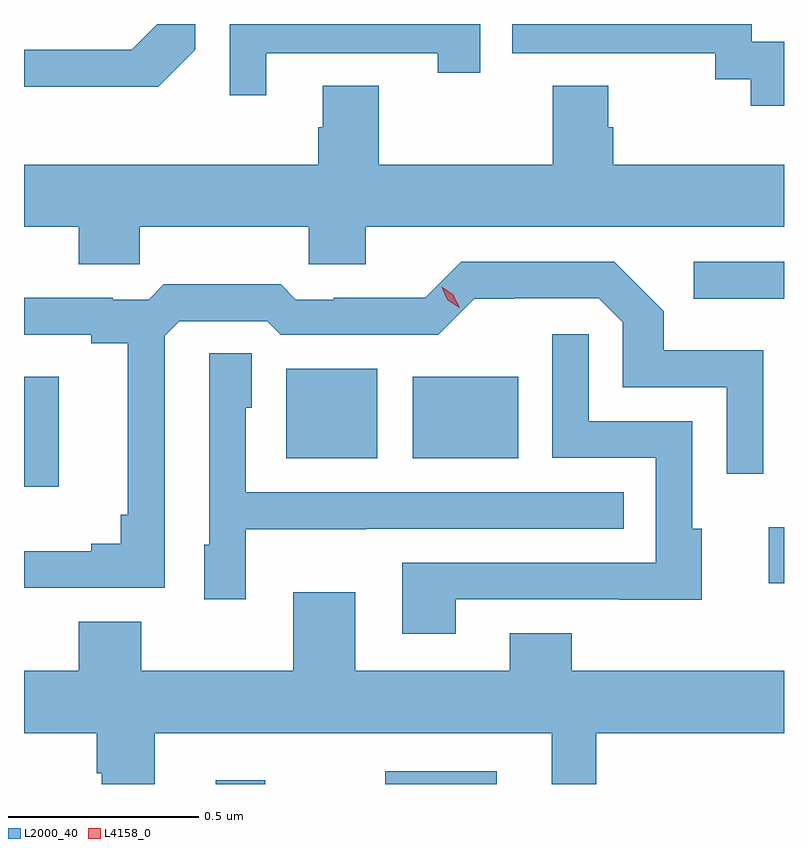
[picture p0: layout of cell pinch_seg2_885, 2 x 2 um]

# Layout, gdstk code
import gdstk
lib = gdstk.Library(unit=1e-6, precision=1e-09)
def R(c, l, rs):  # rectangles x0, y0, x1, y1
    for r in rs: c.add(gdstk.rectangle(r[:2], r[2:], *l))
def P(c, l, *ps):  # polygons
    for p in ps: c.add(gdstk.Polygon(p, *l))
L2000_40 = (2000, 40)
L4158_0 = (4158, 0)

pinch_seg2_885 = lib.new_cell('pinch_seg2_885')
R(pinch_seg2_885, L2000_40, [(587.375,592.89,587.506,592.9), (587.822,592.89,588.115,592.924), (588.831,593.418,588.871,593.566), (586.871,593.672,586.963,593.962), (587.561,593.747,587.8,593.983), (587.894,593.747,588.172,593.962), (588.633,594.167,588.871,594.264)])
P(pinch_seg2_885, L2000_40, [(587.509,594.813),(587.96,594.813),(587.96,594.762),(588.071,594.762),(588.071,594.89),(587.412,594.89),(587.412,594.702),(587.509,594.702)],
  [(587.322,594.822),(587.322,594.89),(587.222,594.89),(587.154,594.822),(586.871,594.822),(586.871,594.725),(587.224,594.725)],
  [(588.871,594.843),(588.786,594.843),(588.786,594.89),(588.156,594.89),(588.156,594.813),(588.69,594.813),(588.69,594.745),(588.783,594.745),(588.783,594.675),(588.871,594.675)],
  [(587.175,594.356),(587.62,594.356),(587.62,594.258),(587.77,594.258),(587.77,594.356),(588.871,594.356),(588.871,594.52),(588.422,594.52),(588.422,594.618),(588.409,594.618),(588.409,594.728),(588.262,594.728),(588.262,594.52),(587.805,594.52),(587.805,594.728),(587.657,594.728),(587.657,594.618),(587.645,594.618),(587.645,594.52),(586.871,594.52),(586.871,594.356),(587.015,594.356),(587.015,594.258),(587.175,594.258)],
  [(587.241,594.069),(587.28,594.108),(587.511,594.108),(587.547,594.072),(587.961,594.072),(588.056,594.167),(588.16,594.167),(588.16,594.168),(588.384,594.168),(588.447,594.105),(588.447,593.934),(588.72,593.934),(588.72,593.706),(588.816,593.706),(588.816,594.031),(588.555,594.031),(588.555,594.134),(588.424,594.264),(588.021,594.264),(587.927,594.17),(587.686,594.17),(587.686,594.165),(587.586,594.165),(587.547,594.205),(587.239,594.205),(587.199,594.165),(587.105,594.165),(587.105,594.17),(586.871,594.17),(586.871,594.072),(587.048,594.072),(587.048,594.05),(587.144,594.05),(587.144,593.599),(587.125,593.599),(587.125,593.522),(587.048,593.522),(587.048,593.503),(586.871,593.503),(586.871,593.406),(587.241,593.406)],
  [(588.007,593.376),(588.437,593.376),(588.437,593.375),(588.655,593.375),(588.655,593.562),(588.63,593.562),(588.63,593.844),(588.357,593.844),(588.357,594.073),(588.261,594.073),(588.261,593.748),(588.534,593.748),(588.534,593.472),(587.867,593.472),(587.867,593.286),(588.007,593.286)],
  [(587.454,593.561),(587.771,593.561),(587.771,593.562),(588.449,593.562),(588.449,593.658),(587.454,593.658),(587.454,593.88),(587.47,593.88),(587.47,594.023),(587.358,594.023),(587.358,593.52),(587.345,593.52),(587.345,593.376),(587.454,593.376)],
  [(587.215,593.024),(588.26,593.024),(588.26,592.89),(588.377,592.89),(588.377,593.024),(588.871,593.024),(588.871,593.188),(588.313,593.188),(588.313,593.287),(588.149,593.287),(588.149,593.188),(587.743,593.188),(587.743,593.395),(587.579,593.395),(587.579,593.188),(587.179,593.188),(587.179,593.317),(587.015,593.317),(587.015,593.188),(586.871,593.188),(586.871,593.024),(587.063,593.024),(587.063,592.918),(587.075,592.918),(587.075,592.89),(587.215,592.89)])
P(pinch_seg2_885, L4158_0, [(588.016,594.143),(587.985,594.165),(587.97,594.199),(587.97,594.199),(587.97,594.199),(588.001,594.178),(588.016,594.144),(588.016,594.143)])

lib.write_gds('pinch_seg2_885.gds')
